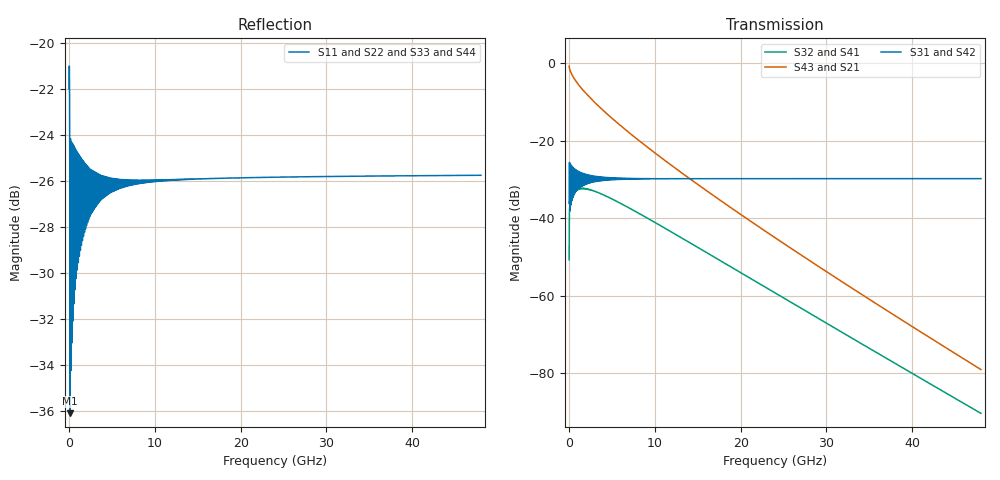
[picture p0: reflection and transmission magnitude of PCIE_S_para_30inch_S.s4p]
#	Hz	S	MA	R	50
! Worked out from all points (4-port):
!   4800 points, 10 MHz to 48 GHz, reference 50 ohm
!   strongest paths, dB at 10 MHz, 12.01 GHz, 24.01 GHz, 36.01 GHz, 48 GHz:
!     S31: -36.1, -29.8, -29.8, -29.8, -29.8
!     S42: -36.1, -29.8, -29.8, -29.8, -29.8
!     S43: -0.8, -26.5, -45.0, -62.3, -79.0
!     S21: -0.8, -26.5, -45.0, -62.3, -79.0
!     S32: -50.7, -43.6, -59.2, -74.8, -90.3
!     S41: -50.7, -43.6, -59.2, -74.8, -90.3
!   lowest |S11| = -36.1 dB at 120 MHz (marker M1), VSWR 1.03, Z = 49.3 - j1.38 ohm
!   |S11| at or under -10 dB: start of sweep to end of sweep
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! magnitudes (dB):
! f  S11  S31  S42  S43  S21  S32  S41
! 10 MHz  -22.0  -36.1  -36.1  -0.8  -0.8  -50.7  -50.7
! 120 MHz  -36.1  -38.0  -38.0  -1.8  -1.8  -37.5  -37.5
! 280 MHz  -24.8  -26.9  -26.9  -2.7  -2.7  -34.3  -34.3
! 640 MHz  -25.0  -27.6  -27.6  -4.1  -4.1  -32.8  -32.8
! 3.05 GHz  -25.9  -29.4  -29.4  -10.2  -10.2  -33.0  -33.0
! 39.86 GHz  -25.8  -29.8  -29.8  -67.7  -67.7  -79.8  -79.8
! 48 GHz  -25.8  -29.8  -29.8  -79.0  -79.0  -90.3  -90.3
